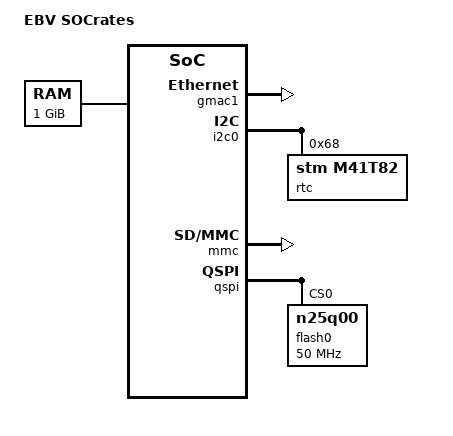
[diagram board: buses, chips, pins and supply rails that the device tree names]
/*
 *  Copyright (C) 2014 Steffen Trumtrar <s.trumtrar@pengutronix.de>
 *
 * SPDX-License-Identifier:	GPL-2.0+
 */

#include "socfpga_cyclone5.dtsi"

/ {
	model = "EBV SOCrates";
	compatible = "ebv,socrates", "altr,socfpga-cyclone5", "altr,socfpga";

	chosen {
		bootargs = "console=ttyS0,115200";
	};

 	aliases {
		spi0 = "/spi@ff705000";		/* QSPI */
		spi1 = "/spi@fff00000";
		spi2 = "/spi@fff01000";
 	};

	memory {
		name = "memory";
		device_type = "memory";
		reg = <0x0 0x40000000>; /* 1GB */
	};
};

&gmac1 {
	status = "okay";
};

&i2c0 {
	status = "okay";

	rtc: rtc@68 {
		compatible = "stm,m41t82";
		reg = <0x68>;
	};
};

&mmc {
	status = "okay";
};

&qspi {
	status = "okay";

	flash0: n25q00@0 {
		#address-cells = <1>;
		#size-cells = <1>;
		compatible = "n25q00";
		reg = <0>;      /* chip select */
		spi-max-frequency = <50000000>;
		m25p,fast-read;
		page-size = <256>;
		block-size = <16>; /* 2^16, 64KB */
		read-delay = <4>;  /* delay value in read data capture register */
		tshsl-ns = <50>;
		tsd2d-ns = <50>;
		tchsh-ns = <4>;
		tslch-ns = <4>;
	};
};
